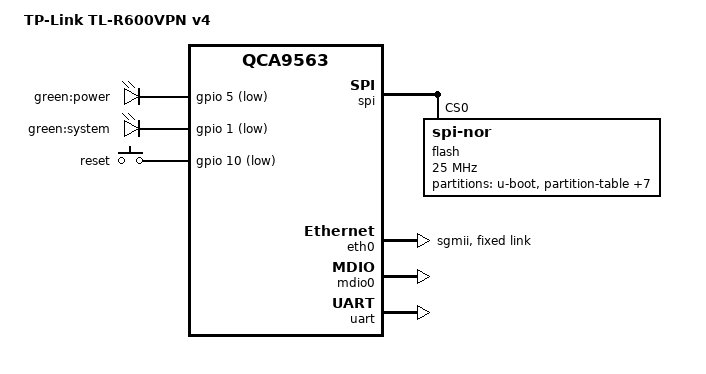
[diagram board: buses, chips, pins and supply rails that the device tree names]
// SPDX-License-Identifier: GPL-2.0-or-later OR MIT

#include "qca956x.dtsi"

#include <dt-bindings/gpio/gpio.h>
#include <dt-bindings/input/input.h>

/ {
	model = "TP-Link TL-R600VPN v4";
	compatible = "tplink,tl-r600vpn-v4", "qca,qca9563";

	chosen {
		bootargs = "console=ttyS0,115200n8";
	};

	aliases {
		led-boot = &led_system;
		led-failsafe = &led_system;
		led-upgrade = &led_system;
	};

	leds {
		compatible = "gpio-leds";

		power {
			label = "green:power";
			gpios = <&gpio 5 GPIO_ACTIVE_LOW>;
			default-state = "on";
		};

		led_system: system {
			label = "green:system";
			gpios = <&gpio 1 GPIO_ACTIVE_LOW>;
		};
	};

	keys {
		compatible = "gpio-keys";

		reset {
			label = "reset";
			gpios = <&gpio 10 GPIO_ACTIVE_LOW>;
			linux,code = <KEY_RESTART>;
			debounce-interval = <60>;
		};
	};

	rtl8367s {
		compatible = "realtek,rtl8367s";
		/*
		 * stock fw:
		 *   0x1307 (ext1_rgmxf) -> 0x4
		 *   0x1305 (dis_sel) -> 0c090, 0x13c3 (dis_sel_1) -> 0x0
		 *   0x1311 (ext1_force) -> 0x1076
		 *
		 *   txdelay = 0
		 *   rxdelay = 4
		 *   mode = SGMII (9)
		 *   force = true
		 *   (nway = false)
		 *   tx_pause = true
		 *   rx_pause = true
		 *   link = true
		 *   duplex = full (1)
		 *   speed = 1000M (2)
		 */
		realtek,extif1 = <0 4 9 1 1 1 1 1 2>;
		mii-bus = <&mdio0>;
	};
};

&spi {
	status = "okay";
	num-cs = <1>;

	flash@0 {
		compatible = "jedec,spi-nor";
		reg = <0>;
		spi-max-frequency = <25000000>;

		partitions {
			compatible = "fixed-partitions";
			#address-cells = <1>;
			#size-cells = <1>;

			partition@0 {
				label = "u-boot";
				reg = <0x000000 0x030000>;
				read-only;
			};

			partition@30000 {
				label = "partition-table";
				reg = <0x030000 0x010000>;
				read-only;
			};

/*			partition@40000 {
				label = "kernel";
				reg = <0x040000 0x150000>;
			};

			partition@190000 {
				label = "rootfs";
				reg = <0x190000 0xba0000>;
			};*/

			partition@40000 {
				compatible = "denx,uimage";
				label = "firmware";
				reg = <0x040000 0xcf0000>;
			};

			partition@d30000 {
				label = "device-info";
				reg = <0xd30000 0x010000>;
				read-only;
			};

			partition@d40000 {
				label = "support-list";
				reg = <0xd40000 0x010000>;
				read-only;
			};

			partition@d50000 {
				label = "firmware-info";
				reg = <0xd50000 0x010000>;
				read-only;
			};

			partition@d60000 {
				label = "tddp";
				reg = <0xd60000 0x010000>;
				read-only;
			};

			partition@d70000 {
				label = "log";
				reg = <0xd70000 0x020000>;
				read-only;
			};

			partition@e00000 {
				label = "user_data";
				reg = <0xe00000 0x200000>;
				read-only;
			};
		};
	};
};

&eth0 {
	status = "okay";

	pll-data = <0x03000101 0x00000101 0x00001919>;

	phy-mode = "sgmii";
//	mtd-mac-address = <&uboot 0x1fc00>;

	fixed-link {
		speed = <1000>;
		full-duplex;
	};
};

&mdio0 {
	status = "okay";

	phy-mask = <0x21>;
};

&uart {
	status = "okay";
};
